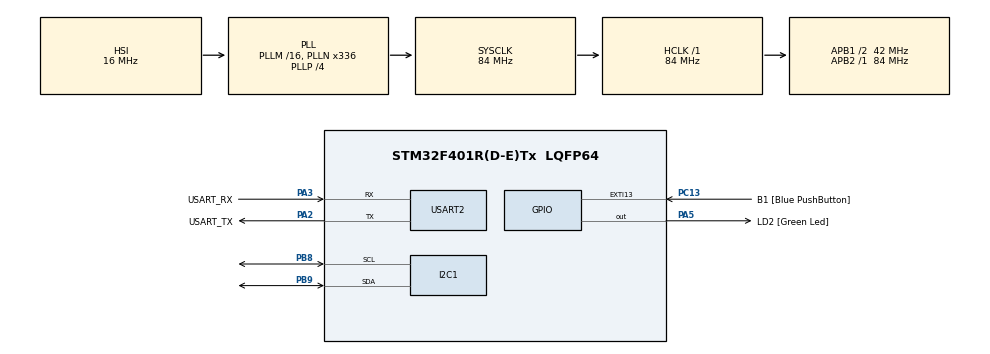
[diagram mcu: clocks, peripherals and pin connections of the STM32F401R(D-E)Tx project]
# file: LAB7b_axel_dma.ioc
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Dma.Request0=USART2_TX
Dma.USART2_TX.0.Direction=DMA_MEMORY_TO_PERIPH
Dma.USART2_TX.0.FIFOMode=DMA_FIFOMODE_DISABLE
Dma.USART2_TX.0.Instance=DMA1_Stream6
Dma.USART2_TX.0.MemDataAlignment=DMA_MDATAALIGN_BYTE
Dma.USART2_TX.0.MemInc=DMA_MINC_ENABLE
Dma.USART2_TX.0.Mode=DMA_NORMAL
Dma.USART2_TX.0.PeriphDataAlignment=DMA_PDATAALIGN_BYTE
Dma.USART2_TX.0.PeriphInc=DMA_PINC_DISABLE
Dma.USART2_TX.0.Priority=DMA_PRIORITY_LOW
I2C1.I2C_Mode=I2C_Standard
Mcu.Family=STM32F4
Mcu.Name=STM32F401R(D-E)Tx
Mcu.Package=LQFP64
NVIC.DMA1_Stream6_IRQn=true\:0\:0\:false\:false\:true\:false\:true
NVIC.PriorityGroup=NVIC_PRIORITYGROUP_2
NVIC.TIM1_UP_TIM10_IRQn=true\:2\:0\:true\:false\:true\:true\:true
NVIC.USART2_IRQn=true\:0\:0\:false\:false\:true\:true\:true
PA13.GPIO_Label=TMS
PA13.Mode=Serial_Wire
PA13.Signal=SYS_JTMS-SWDIO
PA14.GPIO_Label=TCK
PA14.Mode=Serial_Wire
PA14.Signal=SYS_JTCK-SWCLK
PA2.GPIO_Label=USART_TX
PA2.GPIO_Mode=GPIO_MODE_AF_PP
PA2.GPIO_PuPd=GPIO_NOPULL
PA2.GPIO_Speed=GPIO_SPEED_FREQ_LOW
PA2.Mode=Asynchronous
PA2.Signal=USART2_TX
PA3.GPIO_Label=USART_RX
PA3.GPIO_Mode=GPIO_MODE_AF_PP
PA3.GPIO_PuPd=GPIO_NOPULL
PA3.GPIO_Speed=GPIO_SPEED_FREQ_LOW
PA3.Mode=Asynchronous
PA3.Signal=USART2_RX
PA5.GPIO_Label=LD2 [Green Led]
PA5.GPIO_Mode=GPIO_MODE_OUTPUT_PP
PA5.GPIO_PuPd=GPIO_NOPULL
PA5.GPIO_Speed=GPIO_SPEED_FREQ_LOW
PA5.Signal=GPIO_Output
PB3.GPIO_Label=SWO
PB3.Signal=SYS_JTDO-SWO
PB8.Mode=I2C
PB8.Signal=I2C1_SCL
PB9.Mode=I2C
PB9.Signal=I2C1_SDA
PC13-ANTI_TAMP.GPIO_Label=B1 [Blue PushButton]
PC13-ANTI_TAMP.GPIO_ModeDefaultEXTI=GPIO_MODE_IT_FALLING
PC13-ANTI_TAMP.GPIO_PuPd=GPIO_NOPULL
PC13-ANTI_TAMP.Signal=GPXTI13
PC14-OSC32_IN.Mode=LSE-External-Oscillator
PC14-OSC32_IN.Signal=RCC_OSC32_IN
PC15-OSC32_OUT.Mode=LSE-External-Oscillator
PC15-OSC32_OUT.Signal=RCC_OSC32_OUT
PH0\ -\ OSC_IN.Mode=HSE-External-Clock-Source
PH0\ -\ OSC_IN.Signal=RCC_OSC_IN
PH1\ -\ OSC_OUT.Mode=HSE-External-Clock-Source
PH1\ -\ OSC_OUT.Signal=RCC_OSC_OUT
ProjectManager.HeapSize=0x200
ProjectManager.StackSize=0x400
ProjectManager.TargetToolchain=STM32CubeIDE
RCC.48MHZClocksFreq_Value=48000000
RCC.AHBFreq_Value=84000000
RCC.APB1CLKDivider=RCC_HCLK_DIV2
RCC.APB1Freq_Value=42000000
RCC.APB1TimFreq_Value=84000000
RCC.APB2Freq_Value=84000000
RCC.APB2TimFreq_Value=84000000
RCC.CortexFreq_Value=84000000
RCC.HCLKFreq_Value=84000000
RCC.HSE_VALUE=8000000
RCC.HSI_VALUE=16000000
RCC.PLLN=336
RCC.PLLP=RCC_PLLP_DIV4
RCC.PLLQ=7
RCC.SYSCLKFreq_VALUE=84000000
RCC.SYSCLKSource=RCC_SYSCLKSOURCE_PLLCLK
RCC.VCOOutputFreq_Value=336000000
TIM1.AutoReloadPreload=TIM_AUTORELOAD_PRELOAD_ENABLE
TIM1.Period=21000-1
TIM1.Prescaler=4000-1
USART2.VirtualMode=VM_ASYNC
VP_TIM1_VS_ClockSourceINT.Mode=Internal
board=NUCLEO-F401RE

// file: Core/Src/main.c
/* USER CODE BEGIN Header */
/**
  ******************************************************************************
  * @file           : main.c
  * @brief          : Main program body
  ******************************************************************************
  * @attention
  *
  * <h2><center>&copy; Copyright (c) 2021 STMicroelectronics.
  * All rights reserved.</center></h2>
  *
  * This software component is licensed by ST under BSD 3-Clause license,
  * the "License"; You may not use this file except in compliance with the
  * License. You may obtain a copy of the License at:
  *                        opensource.org/licenses/BSD-3-Clause
  *
  ******************************************************************************
  */
/* USER CODE END Header */
#include "main.h"

/* USER CODE BEGIN Includes */
#include "LIS2DE.h"
#include "stdio.h"

/* USER CODE END Includes */

I2C_HandleTypeDef hi2c1;

TIM_HandleTypeDef htim1;

UART_HandleTypeDef huart2;
DMA_HandleTypeDef hdma_usart2_tx;

/* USER CODE BEGIN PV */
uint8_t LIS2DE_axel_addr_read = 0;
uint8_t LIS2DE_axel_addr_write = 0;

/* USER CODE END PV */

void SystemClock_Config(void);
static void MX_GPIO_Init(void);
static void MX_USART2_UART_Init(void);
static void MX_DMA_Init(void);
static void MX_I2C1_Init(void);
static void MX_TIM1_Init(void);

/* USER CODE BEGIN 0 */
void HAL_TIM_PeriodElapsedCallback(TIM_HandleTypeDef *htim){
	if(htim->Instance == htim1.Instance){
		  int8_t x_val, y_val, z_val;
		  uint8_t CTRL_DATA;
		  char message[100];

		  CTRL_DATA = LIS2DE_OUT_X_H;
		  if(HAL_I2C_Master_Transmit(&hi2c1, LIS2DE_axel_addr_write, &CTRL_DATA, 1, 100) != HAL_OK){
			  Error_Handler();
		  }

		 if(HAL_I2C_Master_Receive(&hi2c1, LIS2DE_axel_addr_read, (uint8_t*) &x_val, 1, 100) != HAL_OK){
			  Error_Handler();
		  }

		  CTRL_DATA = LIS2DE_OUT_Y_H;
		  if(HAL_I2C_Master_Transmit(&hi2c1, LIS2DE_axel_addr_write, &CTRL_DATA, 1, 100) != HAL_OK){
			  Error_Handler();
		  }

		 if(HAL_I2C_Master_Receive(&hi2c1, LIS2DE_axel_addr_read, (uint8_t*) &y_val, 1, 100) != HAL_OK){
			  Error_Handler();
		  }

		  CTRL_DATA = LIS2DE_OUT_Z_H;
		  if(HAL_I2C_Master_Transmit(&hi2c1, LIS2DE_axel_addr_write, &CTRL_DATA, 1, 100) != HAL_OK){
			  Error_Handler();
		  }

		 if(HAL_I2C_Master_Receive(&hi2c1, LIS2DE_axel_addr_read, (uint8_t*) &z_val, 1, 100) != HAL_OK){
			  Error_Handler();
		  }

		  int message_length = snprintf(message,100,"X: %+.2f\r\nY: %+.2f\r\nZ: %+.2f\r\n\r\n",x_val/64.0, y_val/64.0, z_val/64.0);

		  HAL_UART_Transmit_DMA(&huart2, (uint8_t *)message, message_length);
	}

}

/* USER CODE END 0 */

int main(void)
{

  /* MCU Configuration--------------------------------------------------------*/

  /* Reset of all peripherals, Initializes the Flash interface and the Systick. */
  HAL_Init();

  /* Configure the system clock */
  SystemClock_Config();

  /* USER CODE BEGIN SysInit */
  MX_DMA_Init();

  /* USER CODE END SysInit */

  /* Initialize all configured peripherals */
  MX_GPIO_Init();
  MX_USART2_UART_Init();
  MX_DMA_Init();
  MX_I2C1_Init();
  MX_TIM1_Init();
  /* USER CODE BEGIN 2 */

  /* NOTICE!
   * In this section we are using the non-dma uart, as
   * with the DMA it looks like there is not enough time between writes
   * and each write gets overwritten by the next. One solution found
   * was using delays after each call, but we belive is better to use
   * the proper blocking function, especially considering that this is a
   * setup phase, so doesn't waste actual loop clocks
   */
  HAL_I2C_Init(&hi2c1);
  {
	 char message[100];
	 int message_length = snprintf(message,100,"LIS2DE DMA DEMO START\r\n");
	 HAL_UART_Transmit(&huart2, (uint8_t *)message, message_length, 100);
	 HAL_Delay(1);
  }
  // auto-addr
if(HAL_I2C_Master_Transmit(&hi2c1, LIS2DE_ADDR_READ, 0, 1, 100) == HAL_OK){

	 char message[100];
	 int message_length = snprintf(message,100,"LIS2DE FOUND\r\n");
	 HAL_UART_Transmit(&huart2, (uint8_t *)message, message_length, 100);

	 LIS2DE_axel_addr_read  = LIS2DE_ADDR_READ;
	 LIS2DE_axel_addr_write = LIS2DE_ADDR_WRITE;

}
else if(HAL_I2C_Master_Transmit(&hi2c1, LIS2DE12_ADDR_READ, 0, 1, 100) == HAL_OK){

	 char message[100];
	 int message_length = snprintf(message,100,"LIS2DE12 FOUND\r\n");
	 HAL_UART_Transmit(&huart2, (uint8_t *)message, message_length, 100);

	 LIS2DE_axel_addr_read  = LIS2DE12_ADDR_READ;
	 LIS2DE_axel_addr_write = LIS2DE12_ADDR_WRITE;

}
else{
	 char message[100];
	 int message_length = snprintf(message,100,"NO LIS2DE FOUND\r\n");
	 HAL_UART_Transmit(&huart2, (uint8_t *)message, message_length, 100);
	 Error_Handler();
}

  uint8_t CTRL_DATA[2];
  CTRL_DATA[0] = LIS2DE_CTRL_REG1;
  CTRL_DATA[1] = 0b00011111;

  if(HAL_I2C_Master_Transmit(&hi2c1, LIS2DE_axel_addr_write, CTRL_DATA, 2, 100) == HAL_OK){

		 char message[100];
		 int message_length = snprintf(message,100,"LIS2DE OK: CTRL REG1\r\n");
		 HAL_UART_Transmit(&huart2, (uint8_t *)message, message_length, 100);

  }
  else{
		 char message[100];
		 int message_length = snprintf(message,100,"LIS2DE ERROR: CTRL REG 1\r\n");
		 HAL_UART_Transmit(&huart2, (uint8_t *)message, message_length, 100);

  }

  /* alternative implementation

  HAL_I2C_Init(&hi2c1);
  {
	 char message[100];
	 int message_length = snprintf(message,100,"LIS2DE DMA DEMO START\r\n");
	 HAL_UART_Transmit_DMA(&huart2, (uint8_t *)message, message_length);
	 HAL_Delay(1);
  }
  // auto-addr
if(HAL_I2C_Master_Transmit(&hi2c1, LIS2DE_ADDR_READ, 0, 1, 100) == HAL_OK){

	 char message[100];
	 int message_length = snprintf(message,100,"LIS2DE FOUND\r\n");
	 HAL_UART_Transmit_DMA(&huart2, (uint8_t *)message, message_length);
	 HAL_Delay(1);

	 LIS2DE_axel_addr_read  = LIS2DE_ADDR_READ;
	 LIS2DE_axel_addr_write = LIS2DE_ADDR_WRITE;

}
else if(HAL_I2C_Master_Transmit(&hi2c1, LIS2DE12_ADDR_READ, 0, 1, 100) == HAL_OK){

	 char message[100];
	 int message_length = snprintf(message,100,"LIS2DE12 FOUND\r\n");
	 HAL_UART_Transmit_DMA(&huart2, (uint8_t *)message, message_length);
	 HAL_Delay(1);

	 LIS2DE_axel_addr_read  = LIS2DE12_ADDR_READ;
	 LIS2DE_axel_addr_write = LIS2DE12_ADDR_WRITE;

}
else{
	 char message[100];
	 int message_length = snprintf(message,100,"NO LIS2DE FOUND\r\n");
	 HAL_UART_Transmit_DMA(&huart2, (uint8_t *)message, message_length);
	 HAL_Delay(1);
	 Error_Handler();
}

  uint8_t CTRL_DATA[2];
  CTRL_DATA[0] = LIS2DE_CTRL_REG1;
  CTRL_DATA[1] = 0b00011111;

  if(HAL_I2C_Master_Transmit(&hi2c1, LIS2DE_axel_addr_write, CTRL_DATA, 2, 100) == HAL_OK){

		 char message[100];
		 int message_length = snprintf(message,100,"LIS2DE OK: CTRL REG1\r\n");
		 HAL_UART_Transmit_DMA(&huart2, (uint8_t *)message, message_length);
	 	 HAL_Delay(1);

  }
  else{
		 char message[100];
		 int message_length = snprintf(message,100,"LIS2DE ERROR: CTRL REG 1\r\n");
		 HAL_UART_Transmit_DMA(&huart2, (uint8_t *)message, message_length);
	 	 HAL_Delay(1);

  }
   *
   *
   */

  HAL_TIM_Base_Start_IT(&htim1);
  /* USER CODE END 2 */

  /* Infinite loop */
  while (1)
  {

  }
}

void SystemClock_Config(void)
{
  RCC_OscInitTypeDef RCC_OscInitStruct = {0};
  RCC_ClkInitTypeDef RCC_ClkInitStruct = {0};

  /** Configure the main internal regulator output voltage
  */
  __HAL_RCC_PWR_CLK_ENABLE();
  __HAL_PWR_VOLTAGESCALING_CONFIG(PWR_REGULATOR_VOLTAGE_SCALE2);
  /** Initializes the RCC Oscillators according to the specified parameters
  * in the RCC_OscInitTypeDef structure.
  */
  RCC_OscInitStruct.OscillatorType = RCC_OSCILLATORTYPE_HSI;
  RCC_OscInitStruct.HSIState = RCC_HSI_ON;
  RCC_OscInitStruct.HSICalibrationValue = RCC_HSICALIBRATION_DEFAULT;
  RCC_OscInitStruct.PLL.PLLState = RCC_PLL_ON;
  RCC_OscInitStruct.PLL.PLLSource = RCC_PLLSOURCE_HSI;
  RCC_OscInitStruct.PLL.PLLM = 16;
  RCC_OscInitStruct.PLL.PLLN = 336;
  RCC_OscInitStruct.PLL.PLLP = RCC_PLLP_DIV4;
  RCC_OscInitStruct.PLL.PLLQ = 7;
  if (HAL_RCC_OscConfig(&RCC_OscInitStruct) != HAL_OK)
  {
    Error_Handler();
  }
  /** Initializes the CPU, AHB and APB buses clocks
  */
  RCC_ClkInitStruct.ClockType = RCC_CLOCKTYPE_HCLK|RCC_CLOCKTYPE_SYSCLK
                              |RCC_CLOCKTYPE_PCLK1|RCC_CLOCKTYPE_PCLK2;
  RCC_ClkInitStruct.SYSCLKSource = RCC_SYSCLKSOURCE_PLLCLK;
  RCC_ClkInitStruct.AHBCLKDivider = RCC_SYSCLK_DIV1;
  RCC_ClkInitStruct.APB1CLKDivider = RCC_HCLK_DIV2;
  RCC_ClkInitStruct.APB2CLKDivider = RCC_HCLK_DIV1;

  if (HAL_RCC_ClockConfig(&RCC_ClkInitStruct, FLASH_LATENCY_2) != HAL_OK)
  {
    Error_Handler();
  }
}

static void MX_I2C1_Init(void)
{

  hi2c1.Instance = I2C1;
  hi2c1.Init.ClockSpeed = 100000;
  hi2c1.Init.DutyCycle = I2C_DUTYCYCLE_2;
  hi2c1.Init.OwnAddress1 = 0;
  hi2c1.Init.AddressingMode = I2C_ADDRESSINGMODE_7BIT;
  hi2c1.Init.DualAddressMode = I2C_DUALADDRESS_DISABLE;
  hi2c1.Init.OwnAddress2 = 0;
  hi2c1.Init.GeneralCallMode = I2C_GENERALCALL_DISABLE;
  hi2c1.Init.NoStretchMode = I2C_NOSTRETCH_DISABLE;
  if (HAL_I2C_Init(&hi2c1) != HAL_OK)
  {
    Error_Handler();
  }

}

static void MX_TIM1_Init(void)
{

  TIM_ClockConfigTypeDef sClockSourceConfig = {0};
  TIM_MasterConfigTypeDef sMasterConfig = {0};

  htim1.Instance = TIM1;
  htim1.Init.Prescaler = 4000-1;
  htim1.Init.CounterMode = TIM_COUNTERMODE_UP;
  htim1.Init.Period = 21000-1;
  htim1.Init.ClockDivision = TIM_CLOCKDIVISION_DIV1;
  htim1.Init.RepetitionCounter = 0;
  htim1.Init.AutoReloadPreload = TIM_AUTORELOAD_PRELOAD_ENABLE;
  if (HAL_TIM_Base_Init(&htim1) != HAL_OK)
  {
    Error_Handler();
  }
  sClockSourceConfig.ClockSource = TIM_CLOCKSOURCE_INTERNAL;
  if (HAL_TIM_ConfigClockSource(&htim1, &sClockSourceConfig) != HAL_OK)
  {
    Error_Handler();
  }
  sMasterConfig.MasterOutputTrigger = TIM_TRGO_RESET;
  sMasterConfig.MasterSlaveMode = TIM_MASTERSLAVEMODE_DISABLE;
  if (HAL_TIMEx_MasterConfigSynchronization(&htim1, &sMasterConfig) != HAL_OK)
  {
    Error_Handler();
  }

}

static void MX_USART2_UART_Init(void)
{

  huart2.Instance = USART2;
  huart2.Init.BaudRate = 115200;
  huart2.Init.WordLength = UART_WORDLENGTH_8B;
  huart2.Init.StopBits = UART_STOPBITS_1;
  huart2.Init.Parity = UART_PARITY_NONE;
  huart2.Init.Mode = UART_MODE_TX_RX;
  huart2.Init.HwFlowCtl = UART_HWCONTROL_NONE;
  huart2.Init.OverSampling = UART_OVERSAMPLING_16;
  if (HAL_UART_Init(&huart2) != HAL_OK)
  {
    Error_Handler();
  }

}

static void MX_DMA_Init(void)
{

  /* DMA controller clock enable */
  __HAL_RCC_DMA1_CLK_ENABLE();

  /* DMA interrupt init */
  /* DMA1_Stream6_IRQn interrupt configuration */
  HAL_NVIC_SetPriority(DMA1_Stream6_IRQn, 0, 0);
  HAL_NVIC_EnableIRQ(DMA1_Stream6_IRQn);

}

static void MX_GPIO_Init(void)
{
  GPIO_InitTypeDef GPIO_InitStruct = {0};

  /* GPIO Ports Clock Enable */
  __HAL_RCC_GPIOC_CLK_ENABLE();
  __HAL_RCC_GPIOH_CLK_ENABLE();
  __HAL_RCC_GPIOA_CLK_ENABLE();
  __HAL_RCC_GPIOB_CLK_ENABLE();

  /*Configure GPIO pin Output Level */
  HAL_GPIO_WritePin(LD2_GPIO_Port, LD2_Pin, GPIO_PIN_RESET);

  /*Configure GPIO pin : B1_Pin */
  GPIO_InitStruct.Pin = B1_Pin;
  GPIO_InitStruct.Mode = GPIO_MODE_IT_FALLING;
  GPIO_InitStruct.Pull = GPIO_NOPULL;
  HAL_GPIO_Init(B1_GPIO_Port, &GPIO_InitStruct);

  /*Configure GPIO pin : LD2_Pin */
  GPIO_InitStruct.Pin = LD2_Pin;
  GPIO_InitStruct.Mode = GPIO_MODE_OUTPUT_PP;
  GPIO_InitStruct.Pull = GPIO_NOPULL;
  GPIO_InitStruct.Speed = GPIO_SPEED_FREQ_LOW;
  HAL_GPIO_Init(LD2_GPIO_Port, &GPIO_InitStruct);

}

void Error_Handler(void)
{
  __disable_irq();
  while (1)
  {
  }
}

/************************ (C) COPYRIGHT STMicroelectronics *****END OF FILE****/
